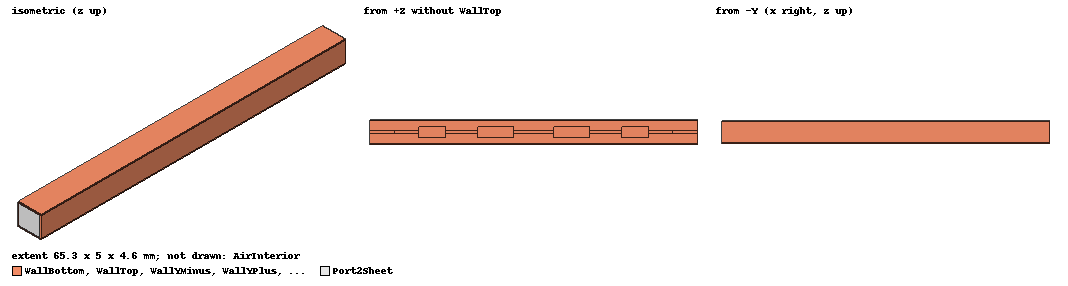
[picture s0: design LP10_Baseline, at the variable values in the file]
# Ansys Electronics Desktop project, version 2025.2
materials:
  vacuum: permittivity=1
  copper: permeability=0.999991 conductivity=58000000
  air: permittivity=1.0006 permeability=1.0000004
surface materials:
  Steel-oxidised-surface

design LP10_Baseline (HFSS, HFSS Modal Network, model units mm)
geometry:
  WallBottom [copper] = box(corner=(0mm, -2.5mm, -2.3mm), size=(65.3mm, 5mm, 0.2mm))
  WallTop [copper] = box(corner=(0mm, -2.5mm, 2.1mm), size=(65.3mm, 5mm, 0.2mm))
  WallYMinus [copper] = box(corner=(0mm, -2.5mm, -2.1mm), size=(65.3mm, 0.2mm, 4.2mm))
  WallYPlus [copper] = box(corner=(0mm, 2.3mm, -2.1mm), size=(65.3mm, 0.2mm, 4.2mm))
  InputFeed [copper] = box(corner=(0mm, -0.275mm, -0.1mm), size=(5mm, 0.55mm, 0.2mm))
  Section_01 [copper] = box(corner=(5mm, -0.275mm, -0.1mm), size=(4.6864407mm, 0.55mm, 0.2mm))
  Section_02 [copper] = box(corner=(9.6864407mm, -1.1mm, -0.1mm), size=(5.3894068mm, 2.2mm, 0.2mm))
  Section_03 [copper] = box(corner=(15.075847mm, -0.275mm, -0.1mm), size=(6.3266949mm, 0.55mm, 0.2mm))
  Section_04 [copper] = box(corner=(21.402542mm, -1.1mm, -0.1mm), size=(7.2639831mm, 2.2mm, 0.2mm))
  Section_05 [copper] = box(corner=(28.666525mm, -0.275mm, -0.1mm), size=(7.9669492mm, 0.55mm, 0.2mm))
  Section_06 [copper] = box(corner=(36.633475mm, -1.1mm, -0.1mm), size=(7.2639831mm, 2.2mm, 0.2mm))
  Section_07 [copper] = box(corner=(43.897458mm, -0.275mm, -0.1mm), size=(6.3266949mm, 0.55mm, 0.2mm))
  Section_08 [copper] = box(corner=(50.224153mm, -1.1mm, -0.1mm), size=(5.3894068mm, 2.2mm, 0.2mm))
  Section_09 [copper] = box(corner=(55.613559mm, -0.275mm, -0.1mm), size=(4.6864407mm, 0.55mm, 0.2mm))
  OutputFeed [copper] = box(corner=(60.3mm, -0.275mm, -0.1mm), size=(5mm, 0.55mm, 0.2mm))
  AirInterior [air] = box(corner=(0mm, -2.3mm, -2.1mm), size=(65.3mm, 4.6mm, 4.2mm))
  InputFeed_1 = InputFeed.copy()
  Section_01_1 = Section_01.copy()
  Section_02_1 = Section_02.copy()
  Section_03_1 = Section_03.copy()
  Section_04_1 = Section_04.copy()
  Section_05_1 = Section_05.copy()
  Section_06_1 = Section_06.copy()
  Section_07_1 = Section_07.copy()
  Section_08_1 = Section_08.copy()
  Section_09_1 = Section_09.copy()
  OutputFeed_1 = OutputFeed.copy()
  AirInterior.subtract(InputFeed_1, Section_01_1, Section_02_1, Section_03_1, Section_04_1, Section_05_1, Section_06_1, Section_07_1, Section_08_1, Section_09_1, OutputFeed_1)
  Port1Sheet = rectangle(corner=(0mm, -2.3mm, -2.1mm), y_size=4.6mm, z_size=4.2mm)
  Port2Sheet = rectangle(corner=(65.3mm, -2.3mm, -2.1mm), y_size=4.6mm, z_size=4.2mm)
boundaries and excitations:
  Port1: Wave Port Objects=Port1Sheet WavePortType=Modal NumModes=2 Modes{Mode1{CharImp=Zpi RenormImp=50ohm} Mode2{CharImp=Zpi RenormImp=50ohm}}
  Port2: Wave Port Objects=Port2Sheet WavePortType=Modal NumModes=2 Modes{Mode1{CharImp=Zpi RenormImp=50ohm} Mode2{CharImp=Zpi RenormImp=50ohm}}
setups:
  Setup1: HfssDriven Frequency=10GHz MaxDeltaS=0.02 MaximumPasses=10 MinimumPasses=2 MinimumConvergedPasses=1 PercentRefinement=30 BasisOrder=1 PortAccuracy=2 DrivenSolverType="Direct Solver"
    sweep Sweep1: 0.1GHz to 30GHz, 401 points; Type=Interpolating InterpTolerance=0.5 InterpMaxSolns=250 InterpUsePortImped=false PassivityErrorTolerance=0.0001
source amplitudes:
  Port1:1: 1W 0deg
  Port1:2, Port2:1, Port2:2: 0W 0deg
